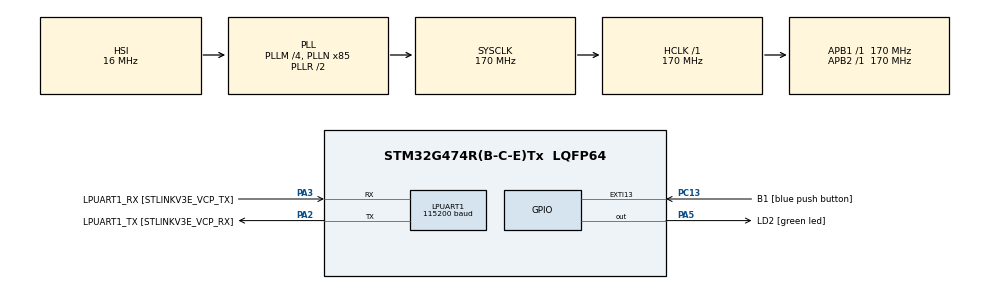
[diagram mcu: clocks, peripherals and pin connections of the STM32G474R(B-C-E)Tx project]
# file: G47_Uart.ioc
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FREERTOS.Tasks01=LedTask,0,256,LedTask_func,Default,NULL,Dynamic,NULL,NULL;UartTask,-3,1500,UartTask_Func,Default,NULL,Dynamic,NULL,NULL;echoTask,-3,256,echoTask_Func,Default,NULL,Dynamic,NULL,NULL
FREERTOS.configTOTAL_HEAP_SIZE=10240
FREERTOS.configUSE_NEWLIB_REENTRANT=1
LPUART1.BaudRate=115200
LPUART1.WordLength=UART_WORDLENGTH_8B
Mcu.Family=STM32G4
Mcu.Name=STM32G474R(B-C-E)Tx
Mcu.Package=LQFP64
NVIC.EXTI15_10_IRQn=true\:5\:0\:false\:false\:true\:true\:true\:true\:true
NVIC.LPUART1_IRQn=true\:5\:0\:false\:false\:true\:true\:true\:true\:true
NVIC.PriorityGroup=NVIC_PRIORITYGROUP_4
NVIC.TIM1_UP_TIM16_IRQn=true\:15\:0\:false\:false\:true\:false\:false\:true\:true
NVIC.TimeBase=TIM1_UP_TIM16_IRQn
NVIC.TimeBaseIP=TIM1
PA13.GPIO_Label=T_SWDIO
PA13.Mode=Serial_Wire
PA13.Signal=SYS_JTMS-SWDIO
PA14.GPIO_Label=T_SWCLK
PA14.Mode=Serial_Wire
PA14.Signal=SYS_JTCK-SWCLK
PA2.GPIO_Label=LPUART1_TX [STLINKV3E_VCP_RX]
PA2.Mode=Asynchronous
PA2.Signal=LPUART1_TX
PA3.GPIO_Label=LPUART1_RX [STLINKV3E_VCP_TX]
PA3.Mode=Asynchronous
PA3.Signal=LPUART1_RX
PA5.GPIO_Label=LD2 [green led]
PA5.Signal=GPIO_Output
PB3.GPIO_Label=T_SWO
PB3.Signal=SYS_JTDO-SWO
PC13.GPIO_Label=B1 [blue push button]
PC13.Signal=GPXTI13
PC14-OSC32_IN.Mode=LSE-External-Oscillator
PC14-OSC32_IN.Signal=RCC_OSC32_IN
PC15-OSC32_OUT.Mode=LSE-External-Oscillator
PC15-OSC32_OUT.Signal=RCC_OSC32_OUT
PF0-OSC_IN.Mode=HSE-External-Oscillator
PF0-OSC_IN.Signal=RCC_OSC_IN
PF1-OSC_OUT.Mode=HSE-External-Oscillator
PF1-OSC_OUT.Signal=RCC_OSC_OUT
ProjectManager.HeapSize=0x200
ProjectManager.StackSize=0x400
ProjectManager.TargetToolchain=STM32CubeIDE
RCC.ADC12Freq_Value=170000000
RCC.ADC345Freq_Value=170000000
RCC.AHBFreq_Value=170000000
RCC.APB1Freq_Value=170000000
RCC.APB1TimFreq_Value=170000000
RCC.APB2Freq_Value=170000000
RCC.APB2TimFreq_Value=170000000
RCC.CortexFreq_Value=170000000
RCC.EXTERNAL_CLOCK_VALUE=12288000
RCC.HCLKFreq_Value=170000000
RCC.HSE_VALUE=24000000
RCC.HSI48_VALUE=48000000
RCC.HSI_VALUE=16000000
RCC.PLLM=RCC_PLLM_DIV4
RCC.PLLN=85
RCC.RTCClockSelection=RCC_RTCCLKSOURCE_LSE
RCC.SYSCLKFreq_VALUE=170000000
RCC.SYSCLKSource=RCC_SYSCLKSOURCE_PLLCLK
RCC.USBFreq_Value=170000000
RCC.VCOOutputFreq_Value=340000000
VP_FREERTOS_VS_CMSIS_V1.Mode=CMSIS_V1
VP_SYS_VS_DBSignals.Mode=DisableDeadBatterySignals
VP_SYS_VS_tim1.Mode=TIM1
board=NUCLEO-G474RE

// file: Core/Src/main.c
/* USER CODE BEGIN Header */
/**
  ******************************************************************************
  * @file           : main.c
  * @brief          : Main program body
  ******************************************************************************
  * @attention
  *
  * Copyright (c) 2022 STMicroelectronics.
  * All rights reserved.
  *
  * This software is licensed under terms that can be found in the LICENSE file
  * in the root directory of this software component.
  * If no LICENSE file comes with this software, it is provided AS-IS.
  *
  ******************************************************************************
  */
/* USER CODE END Header */
#include "main.h"
#include "cmsis_os.h"
#include "usart.h"
#include "gpio.h"

/* USER CODE BEGIN PD */
#define BUFFER_LENGTH 512
#define PUTCHAR_PROTOTYPE int __io_putchar(int ch)

/* USER CODE END PD */

/* USER CODE BEGIN PV */
uint8_t uartItFlag = 0u;
uint8_t buffer[BUFFER_LENGTH];
uint8_t rcvd_data = 0;
uint8_t cntr = 0;
uint8_t rcvd_complete = 0;
uint8_t start = 0;
uint8_t end = 0;
uint8_t echo = 0;
/* USER CODE END PV */

void SystemClock_Config(void);
void MX_FREERTOS_Init(void);

int main(void)
{

  /* MCU Configuration--------------------------------------------------------*/

  /* Reset of all peripherals, Initializes the Flash interface and the Systick. */
  HAL_Init();

  /* Configure the system clock */
  SystemClock_Config();

  /* Initialize all configured peripherals */
  MX_GPIO_Init();
  MX_LPUART1_UART_Init();
  /* USER CODE BEGIN 2 */
  HAL_UART_Receive_IT(&hlpuart1, buffer, BUFFER_LENGTH);

  /* USER CODE END 2 */

  /* Call init function for freertos objects (in freertos.c) */
  MX_FREERTOS_Init();

  /* Start scheduler */
  osKernelStart();

  /* We should never get here as control is now taken by the scheduler */
  /* Infinite loop */
  while (1)
  {

  }
}

void SystemClock_Config(void)
{
  RCC_OscInitTypeDef RCC_OscInitStruct = {0};
  RCC_ClkInitTypeDef RCC_ClkInitStruct = {0};

  /** Configure the main internal regulator output voltage
  */
  HAL_PWREx_ControlVoltageScaling(PWR_REGULATOR_VOLTAGE_SCALE1_BOOST);

  /** Initializes the RCC Oscillators according to the specified parameters
  * in the RCC_OscInitTypeDef structure.
  */
  RCC_OscInitStruct.OscillatorType = RCC_OSCILLATORTYPE_HSI;
  RCC_OscInitStruct.HSIState = RCC_HSI_ON;
  RCC_OscInitStruct.HSICalibrationValue = RCC_HSICALIBRATION_DEFAULT;
  RCC_OscInitStruct.PLL.PLLState = RCC_PLL_ON;
  RCC_OscInitStruct.PLL.PLLSource = RCC_PLLSOURCE_HSI;
  RCC_OscInitStruct.PLL.PLLM = RCC_PLLM_DIV4;
  RCC_OscInitStruct.PLL.PLLN = 85;
  RCC_OscInitStruct.PLL.PLLP = RCC_PLLP_DIV2;
  RCC_OscInitStruct.PLL.PLLQ = RCC_PLLQ_DIV2;
  RCC_OscInitStruct.PLL.PLLR = RCC_PLLR_DIV2;
  if (HAL_RCC_OscConfig(&RCC_OscInitStruct) != HAL_OK)
  {
    Error_Handler();
  }

  /** Initializes the CPU, AHB and APB buses clocks
  */
  RCC_ClkInitStruct.ClockType = RCC_CLOCKTYPE_HCLK|RCC_CLOCKTYPE_SYSCLK
                              |RCC_CLOCKTYPE_PCLK1|RCC_CLOCKTYPE_PCLK2;
  RCC_ClkInitStruct.SYSCLKSource = RCC_SYSCLKSOURCE_PLLCLK;
  RCC_ClkInitStruct.AHBCLKDivider = RCC_SYSCLK_DIV1;
  RCC_ClkInitStruct.APB1CLKDivider = RCC_HCLK_DIV1;
  RCC_ClkInitStruct.APB2CLKDivider = RCC_HCLK_DIV1;

  if (HAL_RCC_ClockConfig(&RCC_ClkInitStruct, FLASH_LATENCY_4) != HAL_OK)
  {
    Error_Handler();
  }
}

/* USER CODE BEGIN 4 */
void HAL_UART_RxCpltCallback(UART_HandleTypeDef *huart)
{
	  HAL_UART_Receive_IT(&hlpuart1, buffer, BUFFER_LENGTH);
	  uartItFlag = 1;

}
PUTCHAR_PROTOTYPE
{
  /* Place your implementation of fputc here */
  /* e.g. write a character to the USART1 and Loop until the end of transmission */
  HAL_UART_Transmit(&hlpuart1, (uint8_t *)&ch, 1, 0xFFFF);

  return ch;
}
/* USER CODE END 4 */

void HAL_TIM_PeriodElapsedCallback(TIM_HandleTypeDef *htim)
{
  if (htim->Instance == TIM1) {
    HAL_IncTick();
  }
}

void Error_Handler(void)
{
  __disable_irq();
  while (1)
  {
  }
}

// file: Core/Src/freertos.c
/* USER CODE BEGIN Header */
/**
 ******************************************************************************
 * File Name          : freertos.c
 * Description        : Code for freertos applications
 ******************************************************************************
 * @attention
 *
 * Copyright (c) 2022 STMicroelectronics.
 * All rights reserved.
 *
 * This software is licensed under terms that can be found in the LICENSE file
 * in the root directory of this software component.
 * If no LICENSE file comes with this software, it is provided AS-IS.
 *
 ******************************************************************************
 */
/* USER CODE END Header */

#include "FreeRTOS.h"
#include "task.h"
#include "main.h"
#include "cmsis_os.h"

/* USER CODE BEGIN Includes */
#include "stringOp.h"
#include "std_types.h"
/* USER CODE END Includes */

/* USER CODE BEGIN Variables */
#define BUFFER_LENGTH 50
/*extern variables*/
extern uint8_t uartItFlag;
extern uint8_t buffer[BUFFER_LENGTH];
extern uint8_t rcvd_data;
extern uint8_t cntr;
extern uint8_t rcvd_complete;
extern uint8_t start;
extern uint8_t end;
extern UART_HandleTypeDef huart1;
/*shared variables*/
operationType current_operation = OP_INVALID;
uint16_t ledOnTime = 500;
uint16_t ledOffTime = 500;
uint32_t baud = 115200;
uint8_t ledEvent = 0;
uint8_t uartEvent = 0;
/*static variables*/
static ledOperationsStateType led_state = STATE_LED_ON_INITIAL;
static uint32_t ledCounter;
static uint8_t taskStopped = 1;
static uint8_t echoData[100];
static uint8_t echoLength = 0;
/* USER CODE END Variables */
osThreadId LedTaskHandle;
osThreadId UartTaskHandle;
osThreadId echoTaskHandle;

void LedTask_func(void const *argument);
void UartTask_func(void const *argument);
void echoTask_func(void const *argument);

void MX_FREERTOS_Init(void); /* (MISRA C 2004 rule 8.1) */

/* GetIdleTaskMemory prototype (linked to static allocation support) */
void vApplicationGetIdleTaskMemory(StaticTask_t **ppxIdleTaskTCBBuffer, StackType_t **ppxIdleTaskStackBuffer, uint32_t *pulIdleTaskStackSize);

/* USER CODE BEGIN GET_IDLE_TASK_MEMORY */
static StaticTask_t xIdleTaskTCBBuffer;
static StackType_t xIdleStack[configMINIMAL_STACK_SIZE];

void vApplicationGetIdleTaskMemory(StaticTask_t **ppxIdleTaskTCBBuffer, StackType_t **ppxIdleTaskStackBuffer, uint32_t *pulIdleTaskStackSize)
{
  *ppxIdleTaskTCBBuffer = &xIdleTaskTCBBuffer;
  *ppxIdleTaskStackBuffer = &xIdleStack[0];
  *pulIdleTaskStackSize = configMINIMAL_STACK_SIZE;
  /* place for user code */
}
/* USER CODE END GET_IDLE_TASK_MEMORY */

void MX_FREERTOS_Init(void)
{

  /* Create the thread(s) */
  /* definition and creation of LedTask */
  osThreadDef(LedTask, LedTask_func, osPriorityNormal, 0, 256);
  LedTaskHandle = osThreadCreate(osThread(LedTask), NULL);

  /* definition and creation of UartTask */
  osThreadDef(UartTask, UartTask_func, osPriorityLow, 0, 1500);
  UartTaskHandle = osThreadCreate(osThread(UartTask), NULL);

  /* definition and creation of echoTask */
  osThreadDef(echoTask, echoTask_func, osPriorityIdle, 0, 256);
  echoTaskHandle = osThreadCreate(osThread(echoTask), NULL);

}

void LedTask_func(void const *argument)
{
  /* USER CODE BEGIN LedTask_func */
  /* Infinite loop */
  for (;;)
  {
    if (ledEvent == 1)
    {
      ledEvent = 0;
      led_state = STATE_LED_ON_INITIAL;
    }
    switch (led_state)
    {
    case STATE_LED_ON_INITIAL:
      ledCounter = ledOnTime;
      led_state = STATE_LED_ON_ONGOING;
      break;
    case STATE_LED_OFF_INITIAL:
      ledCounter = ledOffTime;
      led_state = STATE_LED_OFF_ONGOING;
      break;
    case STATE_LED_OFF_ONGOING:
      ledCounter--;
      HAL_GPIO_WritePin(GPIOG, GPIO_PIN_14, GPIO_PIN_RESET);
      if (ledCounter == 0)
      {
        led_state = STATE_LED_ON_INITIAL;
      }
      break;
    case STATE_LED_ON_ONGOING:
      ledCounter--;
      HAL_GPIO_WritePin(GPIOG, GPIO_PIN_14, GPIO_PIN_SET);
      if (ledCounter == 0)
      {
        led_state = STATE_LED_OFF_INITIAL;
      }
      break;
    }
    osDelay(1);
  }
  /* USER CODE END LedTask_func */
}

void UartTask_func(void const *argument)
{
  /* USER CODE BEGIN UartTask_func */
  /* Infinite loop */
  for (;;)
  {
    if (uartItFlag)
    {
      uartItFlag = 0;
      start = cntr;
      for (int i = start; i < start + BUFFER_LENGTH; i++)
      {
        rcvd_data = buffer[i];
        if (rcvd_data == 10)
        {
          rcvd_complete = 1;
          end = cntr;
          cntr++;
          break;
        }
        cntr++;
      }
    }

    if (rcvd_complete)
    {
      uint8_t length = end - start;
      uint8_t tmpData[length];
      for (int i = 0; i < length; i++)
      {
        tmpData[i] = buffer[start + i];
        echoData[i] = buffer[start + i];
      }
      echoLength = length;
      rcvd_complete = 0;

      strOp(&tmpData);

      switch (current_operation)
      {
      case OP_STOP:
        vTaskSuspend(echoTaskHandle);
        taskStopped = 1;
        break;
      case OP_INVALID:
        printf("E_N_OK\n");
        break;
      case OP_BAUD:
        if (taskStopped)
        {
          vTaskResume(echoTaskHandle);
          taskStopped = 0;
        }
        HAL_UART_Abort_IT(&huart1);
        HAL_UART_DeInit(&huart1);
        MX_USART1_UART_Init();
        HAL_UART_Receive_IT(&huart1, buffer, BUFFER_LENGTH);
      default:
        if (taskStopped)
        {
          vTaskResume(echoTaskHandle);
          taskStopped = 0;
        }
        break;
      }
    }
    osDelay(1);
  }
  /* USER CODE END UartTask_func */
}

void echoTask_func(void const *argument)
{
  /* USER CODE BEGIN echoTask_func */
  /* Infinite loop */
  for (;;)
  {
	HAL_UART_Transmit(&huart1, &echoData, echoLength, 0xFFFF);
    osDelay(20);
  }
  /* USER CODE END echoTask_func */
}

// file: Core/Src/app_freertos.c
/* USER CODE BEGIN Header */
/**
 ******************************************************************************
 * File Name          : app_freertos.c
 * Description        : Code for freertos applications
 ******************************************************************************
 * @attention
 *
 * Copyright (c) 2022 STMicroelectronics.
 * All rights reserved.
 *
 * This software is licensed under terms that can be found in the LICENSE file
 * in the root directory of this software component.
 * If no LICENSE file comes with this software, it is provided AS-IS.
 *
 ******************************************************************************
 */
/* USER CODE END Header */

#include "FreeRTOS.h"
#include "task.h"
#include "main.h"
#include "cmsis_os.h"

/* USER CODE BEGIN Includes */
#include "stringOp.h"
#include "std_types.h"
/* USER CODE END Includes */

/* USER CODE BEGIN Variables */
#define BUFFER_LENGTH 50
/*extern variables*/
extern uint8_t uartItFlag;
extern uint8_t buffer[BUFFER_LENGTH];
extern uint8_t rcvd_data;
extern uint8_t cntr;
extern uint8_t rcvd_complete;
extern uint8_t start;
extern uint8_t end;
extern UART_HandleTypeDef hlpuart1;
/*shared variables*/
operationType current_operation = OP_INVALID;
uint16_t ledOnTime = 500;
uint16_t ledOffTime = 500;
uint32_t baud = 115200;
uint8_t ledEvent = 0;
uint8_t uartEvent = 0;
/*static variables*/
static ledOperationsStateType led_state = STATE_LED_ON_INITIAL;
static uint32_t ledCounter;
static uint8_t taskStopped = 1;
static uint8_t echoData[100];
static uint8_t echoLength = 0;
static uint8_t echoFlag = 0;
static uint8_t echoData[100];
/* USER CODE END Variables */
osThreadId LedTaskHandle;
osThreadId UartTaskHandle;
osThreadId echoTaskHandle;

void LedTask_func(void const * argument);
void UartTask_Func(void const * argument);
void echoTask_Func(void const * argument);

void MX_FREERTOS_Init(void); /* (MISRA C 2004 rule 8.1) */

void MX_FREERTOS_Init(void) {

  /* Create the thread(s) */
  /* definition and creation of LedTask */
  osThreadDef(LedTask, LedTask_func, osPriorityNormal, 0, 256);
  LedTaskHandle = osThreadCreate(osThread(LedTask), NULL);

  /* definition and creation of UartTask */
  osThreadDef(UartTask, UartTask_Func, osPriorityIdle, 0, 1500);
  UartTaskHandle = osThreadCreate(osThread(UartTask), NULL);

  /* definition and creation of echoTask */
  osThreadDef(echoTask, echoTask_Func, osPriorityIdle, 0, 256);
  echoTaskHandle = osThreadCreate(osThread(echoTask), NULL);

}

void LedTask_func(void const * argument)
{
  /* USER CODE BEGIN LedTask_func */
	/* Infinite loop */
	for (;;)
	{
		if (ledEvent == 1)
		{
			ledEvent = 0;
			led_state = STATE_LED_ON_INITIAL;
		}
		switch (led_state)
		{
		case STATE_LED_ON_INITIAL:
			ledCounter = ledOnTime;
			led_state = STATE_LED_ON_ONGOING;
			break;
		case STATE_LED_OFF_INITIAL:
			ledCounter = ledOffTime;
			led_state = STATE_LED_OFF_ONGOING;
			break;
		case STATE_LED_OFF_ONGOING:
			ledCounter--;
			HAL_GPIO_WritePin(GPIOA, GPIO_PIN_5, GPIO_PIN_RESET);
			if (ledCounter == 0)
			{
				led_state = STATE_LED_ON_INITIAL;
			}
			break;
		case STATE_LED_ON_ONGOING:
			ledCounter--;
			HAL_GPIO_WritePin(GPIOA, GPIO_PIN_5, GPIO_PIN_SET);
			if (ledCounter == 0)
			{
				led_state = STATE_LED_OFF_INITIAL;
			}
			break;
		}
		osDelay(1);
	}
  /* USER CODE END LedTask_func */
}

void UartTask_Func(void const * argument)
{
  /* USER CODE BEGIN UartTask_Func */
	/* Infinite loop */
	for (;;)
	{
		if (uartItFlag)
		{
			uartItFlag = 0;
			start = cntr;
			for (int i = start; i < start + BUFFER_LENGTH; i++)
			{
				rcvd_data = buffer[i];
				if (rcvd_data == 10)
				{
					rcvd_complete = 1;
					end = cntr;
					cntr++;
					break;
				}
				cntr++;
			}
		}

		if (rcvd_complete)
		{
			uint8_t length = end - start;
			uint8_t tmpData[length];
			for (int i = 0; i < length; i++)
			{
				tmpData[i] = buffer[start + i];
				echoData[i] = buffer[start + i];
			}
			echoLength = length;
			rcvd_complete = 0;
			strOp(&tmpData);
			echoFlag = 1;

			switch (current_operation)
			{
			case OP_STOP:
				if (!taskStopped)
				{
					vTaskSuspend(echoTaskHandle);
					taskStopped = 1;
				}
				break;
			case OP_INVALID:
				printf("E_N_OK\n");
				break;
			case OP_START:
				if (taskStopped)
				{
					vTaskResume(echoTaskHandle);
					taskStopped = 0;
				}
				echoFlag = 1;
			case OP_BAUD:
				echoFlag = 1;
				HAL_UART_Abort_IT(&hlpuart1);
				HAL_UART_DeInit(&hlpuart1);
				MX_LPUART1_UART_Init();
				HAL_UART_Receive_IT(&hlpuart1, buffer, BUFFER_LENGTH);
			default:
				echoFlag = 1;
				break;
			}
		}
		osDelay(1);
	}
  /* USER CODE END UartTask_Func */
}

void echoTask_Func(void const * argument)
{
  /* USER CODE BEGIN echoTask_Func */
  /* Infinite loop */
  for(;;)
  {
	if(echoFlag) {
		echoFlag = 0;
		HAL_UART_Transmit(&hlpuart1,echoData, echoLength, 0xFFFF);
		printf("\n");
	}
    osDelay(20);
  }
  /* USER CODE END echoTask_Func */
}
